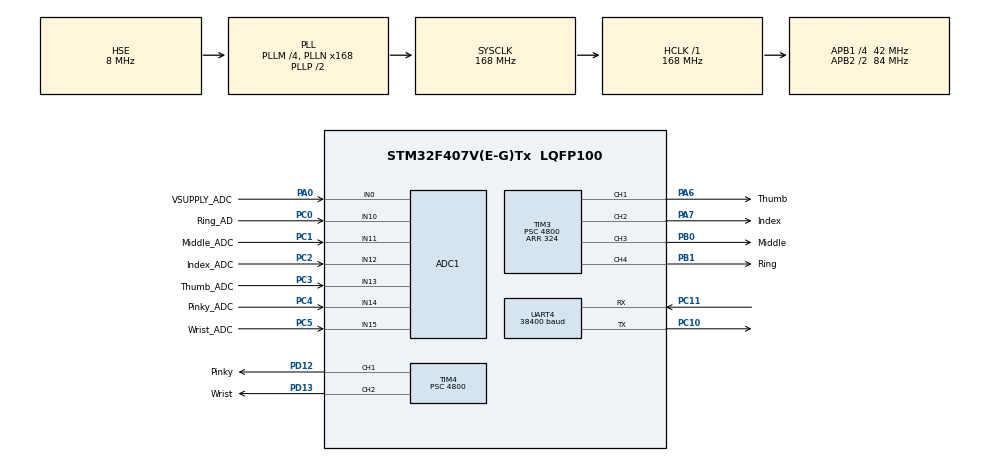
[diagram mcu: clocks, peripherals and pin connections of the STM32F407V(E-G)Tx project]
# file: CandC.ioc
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ADC1.Channel-0\#ChannelRegularConversion=ADC_CHANNEL_0
ADC1.Channel-1\#ChannelRegularConversion=ADC_CHANNEL_13
ADC1.Channel-2\#ChannelRegularConversion=ADC_CHANNEL_12
ADC1.Channel-3\#ChannelRegularConversion=ADC_CHANNEL_11
ADC1.Channel-4\#ChannelRegularConversion=ADC_CHANNEL_10
ADC1.Channel-5\#ChannelRegularConversion=ADC_CHANNEL_14
ADC1.Channel-6\#ChannelRegularConversion=ADC_CHANNEL_15
ADC1.ContinuousConvMode=ENABLE
ADC1.DMAContinuousRequests=ENABLE
ADC1.NbrOfConversion=7
ADC1.NbrOfConversionFlag=1
ADC1.Rank-0\#ChannelRegularConversion=1
ADC1.Rank-1\#ChannelRegularConversion=2
ADC1.Rank-2\#ChannelRegularConversion=3
ADC1.Rank-3\#ChannelRegularConversion=4
ADC1.Rank-4\#ChannelRegularConversion=5
ADC1.Rank-5\#ChannelRegularConversion=6
ADC1.Rank-6\#ChannelRegularConversion=7
ADC1.SamplingTime-0\#ChannelRegularConversion=ADC_SAMPLETIME_3CYCLES
ADC1.SamplingTime-1\#ChannelRegularConversion=ADC_SAMPLETIME_3CYCLES
ADC1.SamplingTime-2\#ChannelRegularConversion=ADC_SAMPLETIME_3CYCLES
ADC1.SamplingTime-3\#ChannelRegularConversion=ADC_SAMPLETIME_3CYCLES
ADC1.SamplingTime-4\#ChannelRegularConversion=ADC_SAMPLETIME_3CYCLES
ADC1.SamplingTime-5\#ChannelRegularConversion=ADC_SAMPLETIME_3CYCLES
ADC1.SamplingTime-6\#ChannelRegularConversion=ADC_SAMPLETIME_3CYCLES
ADC1.master=1
Dma.ADC1.1.Direction=DMA_PERIPH_TO_MEMORY
Dma.ADC1.1.FIFOMode=DMA_FIFOMODE_DISABLE
Dma.ADC1.1.Instance=DMA2_Stream0
Dma.ADC1.1.MemDataAlignment=DMA_MDATAALIGN_WORD
Dma.ADC1.1.MemInc=DMA_MINC_ENABLE
Dma.ADC1.1.Mode=DMA_CIRCULAR
Dma.ADC1.1.PeriphDataAlignment=DMA_PDATAALIGN_WORD
Dma.ADC1.1.PeriphInc=DMA_PINC_DISABLE
Dma.ADC1.1.Priority=DMA_PRIORITY_LOW
Dma.Request0=UART4_RX
Dma.Request1=ADC1
Dma.UART4_RX.0.Direction=DMA_PERIPH_TO_MEMORY
Dma.UART4_RX.0.FIFOMode=DMA_FIFOMODE_DISABLE
Dma.UART4_RX.0.Instance=DMA1_Stream2
Dma.UART4_RX.0.MemDataAlignment=DMA_MDATAALIGN_BYTE
Dma.UART4_RX.0.MemInc=DMA_MINC_ENABLE
Dma.UART4_RX.0.Mode=DMA_NORMAL
Dma.UART4_RX.0.PeriphDataAlignment=DMA_PDATAALIGN_BYTE
Dma.UART4_RX.0.PeriphInc=DMA_PINC_DISABLE
Dma.UART4_RX.0.Priority=DMA_PRIORITY_LOW
Mcu.Family=STM32F4
Mcu.Name=STM32F407V(E-G)Tx
Mcu.Package=LQFP100
NVIC.DMA1_Stream2_IRQn=true\:1\:0\:true\:false\:true\:false\:true
NVIC.DMA2_Stream0_IRQn=true\:1\:0\:true\:false\:true\:false\:true
NVIC.PriorityGroup=NVIC_PRIORITYGROUP_4
NVIC.UART4_IRQn=true\:1\:0\:true\:false\:true\:true\:true
PA0-WKUP.GPIO_Label=VSUPPLY_ADC
PA0-WKUP.Signal=ADCx_IN0
PA13.Mode=Serial_Wire
PA13.Signal=SYS_JTMS-SWDIO
PA14.Mode=Serial_Wire
PA14.Signal=SYS_JTCK-SWCLK
PA6.GPIO_Label=Thumb
PA6.Signal=S_TIM3_CH1
PA7.GPIO_Label=Index
PA7.Signal=S_TIM3_CH2
PB0.GPIO_Label=Middle
PB0.Signal=S_TIM3_CH3
PB1.GPIO_Label=Ring
PB1.Signal=S_TIM3_CH4
PC0.GPIO_Label=Ring_AD
PC0.Signal=ADCx_IN10
PC1.GPIO_Label=Middle_ADC
PC1.Signal=ADCx_IN11
PC10.Mode=Asynchronous
PC10.Signal=UART4_TX
PC11.Mode=Asynchronous
PC11.Signal=UART4_RX
PC2.GPIO_Label=Index_ADC
PC2.Signal=ADCx_IN12
PC3.GPIO_Label=Thumb_ADC
PC3.Signal=ADCx_IN13
PC4.GPIO_Label=Pinky_ADC
PC4.Signal=ADCx_IN14
PC5.GPIO_Label=Wrist_ADC
PC5.Signal=ADCx_IN15
PD12.GPIO_Label=Pinky
PD12.Signal=S_TIM4_CH1
PD13.GPIO_Label=Wrist
PD13.Signal=S_TIM4_CH2
PH0-OSC_IN.Mode=HSE-External-Oscillator
PH0-OSC_IN.Signal=RCC_OSC_IN
PH1-OSC_OUT.Mode=HSE-External-Oscillator
PH1-OSC_OUT.Signal=RCC_OSC_OUT
ProjectManager.HeapSize=0x200
ProjectManager.StackSize=0x400
ProjectManager.TargetToolchain=STM32CubeIDE
RCC.48MHZClocksFreq_Value=84000000
RCC.AHBFreq_Value=168000000
RCC.APB1CLKDivider=RCC_HCLK_DIV4
RCC.APB1Freq_Value=42000000
RCC.APB1TimFreq_Value=84000000
RCC.APB2CLKDivider=RCC_HCLK_DIV2
RCC.APB2Freq_Value=84000000
RCC.APB2TimFreq_Value=168000000
RCC.CortexFreq_Value=168000000
RCC.HCLKFreq_Value=168000000
RCC.HSE_VALUE=8000000
RCC.HSI_VALUE=16000000
RCC.LSE_VALUE=32768
RCC.PLLM=4
RCC.PLLN=168
RCC.PLLSourceVirtual=RCC_PLLSOURCE_HSE
RCC.SYSCLKFreq_VALUE=168000000
RCC.SYSCLKSource=RCC_SYSCLKSOURCE_PLLCLK
RCC.VCOOutputFreq_Value=336000000
SH.ADCx_IN0.0=ADC1_IN0,IN0
SH.ADCx_IN10.0=ADC1_IN10,IN10
SH.ADCx_IN11.0=ADC1_IN11,IN11
SH.ADCx_IN12.0=ADC1_IN12,IN12
SH.ADCx_IN13.0=ADC1_IN13,IN13
SH.ADCx_IN14.0=ADC1_IN14,IN14
SH.ADCx_IN15.0=ADC1_IN15,IN15
SH.S_TIM3_CH1.0=TIM3_CH1,PWM Generation1 CH1
SH.S_TIM3_CH2.0=TIM3_CH2,PWM Generation2 CH2
SH.S_TIM3_CH3.0=TIM3_CH3,PWM Generation3 CH3
SH.S_TIM3_CH4.0=TIM3_CH4,PWM Generation4 CH4
SH.S_TIM4_CH1.0=TIM4_CH1,PWM Generation1 CH1
SH.S_TIM4_CH2.0=TIM4_CH2,PWM Generation2 CH2
TIM3.Channel-PWM\ Generation1\ CH1=TIM_CHANNEL_1
TIM3.Channel-PWM\ Generation2\ CH2=TIM_CHANNEL_2
TIM3.Channel-PWM\ Generation3\ CH3=TIM_CHANNEL_3
TIM3.Channel-PWM\ Generation4\ CH4=TIM_CHANNEL_4
TIM3.Period=324
TIM3.Prescaler=4800
TIM3.Pulse-PWM\ Generation1\ CH1=160
TIM3.Pulse-PWM\ Generation2\ CH2=160
TIM3.Pulse-PWM\ Generation3\ CH3=160
TIM3.Pulse-PWM\ Generation4\ CH4=160
TIM4.Channel-PWM\ Generation1\ CH1=TIM_CHANNEL_1
TIM4.Channel-PWM\ Generation2\ CH2=TIM_CHANNEL_2
TIM4.Period=324
TIM4.Prescaler=4800
TIM4.Pulse-PWM\ Generation1\ CH1=160
TIM4.Pulse-PWM\ Generation2\ CH2=160
UART4.BaudRate=38400
UART4.VirtualMode=Asynchronous
VP_TIM3_VS_ClockSourceINT.Mode=Internal
VP_TIM4_VS_ClockSourceINT.Mode=Internal
board=custom

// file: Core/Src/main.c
/* USER CODE BEGIN Header */
/**
  ******************************************************************************
  * @file           : main.c
  * @brief          : Main program body
  ******************************************************************************
  * @attention
  *
  * <h2><center>&copy; Copyright (c) 2020 STMicroelectronics.
  * All rights reserved.</center></h2>
  *
  * This software component is licensed by ST under BSD 3-Clause license,
  * the "License"; You may not use this file except in compliance with the
  * License. You may obtain a copy of the License at:
  *                        opensource.org/licenses/BSD-3-Clause
  *
  ******************************************************************************
  */
/* USER CODE END Header */

#include "main.h"

/* USER CODE BEGIN Includes */
#include <stdlib.h>
#include <stdio.h>
#include <string.h>
#include "DCT.h"
#include "svm_predict.h"

//#define PRINTING_MODEL
//#define PRINTING_COEFFS
#ifndef EPOCH_LENGTH_SAMPLES
  #define EPOCH_LENGTH_SAMPLES 256
#endif
#define CHARS_PER_SAMPLE 11
#define SVM_SCALE_FACTOR 100000
//#define EEG_SCALE_FACTOR 1
#define EEG_SCALE_FACTOR 100000
#define ADC_VREF 3.3
#define ADC_MAX_COUNT 4095
#define FEEDBACK_GAIN 6
/* USER CODE END Includes */

ADC_HandleTypeDef hadc1;
DMA_HandleTypeDef hdma_adc1;

TIM_HandleTypeDef htim3;
TIM_HandleTypeDef htim4;

UART_HandleTypeDef huart4;
DMA_HandleTypeDef hdma_uart4_rx;

void SystemClock_Config(void);
static void MX_GPIO_Init(void);
static void MX_DMA_Init(void);
static void MX_ADC1_Init(void);
static void MX_TIM3_Init(void);
static void MX_TIM4_Init(void);
static void MX_UART4_Init(void);
/* USER CODE BEGIN PFP */
void open_hand(void);
void close_hand(void);
double convert_ADC_to_volts(uint32_t);
double ohms_law(double, double);
double moving_average(double*, int);
void user_pwm_setvalue(long, TIM_HandleTypeDef*, uint32_t);

/* USER CODE END PFP */

/* USER CODE BEGIN 0 */

unsigned char RX_data[EPOCH_LENGTH_SAMPLES * CHARS_PER_SAMPLE] = {0};
double parsed_epoch_data[EPOCH_LENGTH_SAMPLES] = {0};
Linear_SVM_Model SVM;
uint32_t adc_values[7];        /**< The ADC Values are saved here */
double thumb_current_history[10] = {0};
double index_current_history[10] = {0};
double middle_current_history[10] = {0};
double ring_current_history[10] = {0};
double pinky_current_history[10] = {0};
char is_blocked[6] = {0};
char is_open = 0;

int parse_buffer(void) {
	char delim[] = "\n";
	char *ptr = strtok((char*)RX_data, delim);
	int sample_number = 0;
	while(ptr != NULL)
	{
		long value = atol(ptr);
		if (SVM.complete) { // this should be svm.complete
			parsed_epoch_data[sample_number] = ((double)value) / EEG_SCALE_FACTOR;
		}
		else {
			parsed_epoch_data[sample_number] = ((double)value) / SVM_SCALE_FACTOR;
		}
		sample_number++;
		ptr = strtok(NULL, delim);
	}
	return sample_number;
}

void process_sample(double coeffs[]) {
    parse_buffer();
	// Process this epoch
	int number_of_samples = sizeof(parsed_epoch_data) / sizeof(double);

	dct_test(coeffs, parsed_epoch_data, number_of_samples);
#ifdef PRINTING_COEFFS
	//This is just printing
	for (int i = 0; i < number_of_samples; i++) {
		char data_string[CHARS_PER_SAMPLE] = {0};
		snprintf(data_string,  CHARS_PER_SAMPLE, "%010lf", coeffs[i]);
		HAL_UART_Transmit(&huart4, (unsigned char *)data_string, CHARS_PER_SAMPLE, 0xFFFF);
		HAL_UART_Transmit(&huart4, (unsigned char *)"\n\r", 3, 0xFFFF);
	}
#endif

}

#ifdef PRINTING_MODEL
void print_model(Linear_SVM_Model* model) {
	if (model->complete) {
		char weight_str[255] = {0};
		HAL_UART_Transmit(&huart4, (unsigned char *)"Weights\n\r", 10, 0xFFFF);
		for (int i = 0; i < EPOCH_LENGTH_SAMPLES; i++) {
			snprintf(weight_str, 11, "%010ld", (long)(model->weight_vector[i]*1000));
			HAL_UART_Transmit(&huart4, (unsigned char *)weight_str, 11, 0xFFFF);
			HAL_UART_Transmit(&huart4, (unsigned char *)"\r\n", 3, 0xFFFF);
		}

		char scale_str[255] = {0};
		char offset_str[255] = {0};
		char dimension_str[255] = {0};
		snprintf(scale_str, 11, "%010ld", (long)(model->scale * 1000));
		snprintf(offset_str, 11, "%010ld", (long)(model->offset * 1000));
		snprintf(dimension_str, 11, "%010ld", (long)(model->dimension * 1000));

		HAL_UART_Transmit(&huart4, (unsigned char*)"Scale: ", 7, 0xFFFF);
		HAL_UART_Transmit(&huart4, (unsigned char*)scale_str, 11, 0xFFFF);
		HAL_UART_Transmit(&huart4, (unsigned char*)"\n\r", 3, 0xFFFF);

		HAL_UART_Transmit(&huart4, (unsigned char*)"Offset: ", 8, 0xFFFF);
		HAL_UART_Transmit(&huart4, (unsigned char*)offset_str, 11, 0xFFFF);
		HAL_UART_Transmit(&huart4, (unsigned char*)"\n\r", 3, 0xFFFF);

		HAL_UART_Transmit(&huart4, (unsigned char*)"Dimension: ", 11, 0xFFFF);
		HAL_UART_Transmit(&huart4, (unsigned char*)dimension_str, 11, 0xFFFF);
		HAL_UART_Transmit(&huart4, (unsigned char*)"\n\r", 3, 0xFFFF);
	}

}
#endif

void build_model(void) {
	parse_buffer();
	if (SVM.has_vector == 0) {
		/* Load the weight vector */
		int number_of_weights = sizeof(parsed_epoch_data) / sizeof(double);   // Get the number of coefficients in the weight vector
		double vect[number_of_weights];      // This is an array to hold the weights once converted to double from long
		for (int i = 0; i < number_of_weights; i++) {
			vect[i] = (parsed_epoch_data[i]); // Convert the weight to double then divide by the scale factor
		}
		//SVM->weight_vector = malloc(number_of_weights * sizeof(double));
		memcpy(SVM.weight_vector, vect, sizeof(vect));   // Store the scaled weights into the model, SVM.weight_vector is no longer NULL
		SVM.has_vector = 1;
	}
	else {
		/* Load the offset, scale and dimension */
		SVM.scale = (parsed_epoch_data[0]);
		SVM.offset = (parsed_epoch_data[1]);
		SVM.dimension = (parsed_epoch_data[2]);
		SVM.complete = 1;
		open_hand();
		HAL_Delay(250);
		close_hand();
#ifdef PRINTING_MODEL
		print_model(SVM);
#endif
	}
}

void HAL_UART_RxCpltCallback(UART_HandleTypeDef *huart) {
	if (SVM.complete) { //should be complete not not complete
		double coeffs[EPOCH_LENGTH_SAMPLES] = {0};
        process_sample(coeffs);
        double prediction = Linear_SVM_Predict(&SVM, coeffs);
        if (prediction < 0) {
        	open_hand();
        }
        else {
        	close_hand();
        }
	}
	else {        //This happens when we haven't got the model yet
		/* Get the model */
		build_model();
	}
	HAL_UART_Receive_IT(&huart4, RX_data, EPOCH_LENGTH_SAMPLES * CHARS_PER_SAMPLE); // Start listening. You now have 1 epoch to process this epoch
}

void user_pwm_setvalue(long value, TIM_HandleTypeDef* timer, uint32_t channel)
{
    TIM_OC_InitTypeDef sConfigOC;

    sConfigOC.OCMode = TIM_OCMODE_PWM1;
    sConfigOC.Pulse = value;
    sConfigOC.OCPolarity = TIM_OCPOLARITY_HIGH;
    sConfigOC.OCFastMode = TIM_OCFAST_DISABLE;
    HAL_TIM_PWM_ConfigChannel(timer, &sConfigOC, channel);
    HAL_TIM_PWM_Start(timer, channel);
}

void close_hand(void) {
	char old_state = is_open;
	  user_pwm_setvalue(30, &htim3, TIM_CHANNEL_1);
	  user_pwm_setvalue(28, &htim3, TIM_CHANNEL_2);
	  user_pwm_setvalue(20, &htim3, TIM_CHANNEL_3);
	  user_pwm_setvalue(25, &htim3, TIM_CHANNEL_4);
	  user_pwm_setvalue(25, &htim4, TIM_CHANNEL_1);
	  is_open = 0;
	  if (is_open != old_state) {
		  for (int i = 0; i < 5; i++) {
			  is_blocked[i] = 0;
		  }
	  }
}

void open_hand(void) {
	char old_state = is_open;
	  user_pwm_setvalue(11, &htim3, TIM_CHANNEL_1);
	  user_pwm_setvalue(10, &htim3, TIM_CHANNEL_2);
	  user_pwm_setvalue(10, &htim3, TIM_CHANNEL_3);
	  user_pwm_setvalue(11, &htim3, TIM_CHANNEL_4);
	  user_pwm_setvalue(11, &htim4, TIM_CHANNEL_1);
	  is_open = 1;
	  if (is_open != old_state) {
		  for (int i = 0; i < 5; i++) {
			  is_blocked[i] = 0;
		  }
	  }
}

double convert_ADC_to_volts(uint32_t adc_count) {
	return ((double)adc_count * ((ADC_VREF) / (ADC_MAX_COUNT)) * FEEDBACK_GAIN);
}

double ohms_law(double volts, double resistance) {
	if (resistance) {
	return (volts / resistance);
	}
	return 0;
}

double moving_average(double data[], int length) {
	if (length == 0) {
		return 0.0;
	}
	double sum = 0;
	for (int i = 0; i < length; i++) {
		sum += data[i];
	}
	return (sum / length);
}

void bang_bang_control(void) {
	  double thumb_volts = convert_ADC_to_volts(adc_values[2]);    // Read voltage after thumb sense resistor
	  double index_volts = convert_ADC_to_volts(adc_values[2]);    // Read voltage after index sense resistor
	  double middle_volts = convert_ADC_to_volts(adc_values[2]);    // Read voltage after middle sense resistor
	  double ring_volts = convert_ADC_to_volts(adc_values[2]);    // Read voltage after ring sense resistor
	  double pinky_volts = convert_ADC_to_volts(adc_values[2]);    // Read voltage after pinky sense resistor
	  double ref_volts = convert_ADC_to_volts(adc_values[0]);        // Read voltage before sense resistors

	  double thumb_current = ohms_law(ref_volts - thumb_volts, 50);   // Compute voltage drop, then divide by 50mOhm sense resistor
	  double index_current = ohms_law(ref_volts - index_volts, 50);   // Compute voltage drop, then divide by 50mOhm sense resistor
	  double middle_current = ohms_law(ref_volts - middle_volts, 50);   // Compute voltage drop, then divide by 50mOhm sense resistor
	  double ring_current = ohms_law(ref_volts - ring_volts, 50);   // Compute voltage drop, then divide by 50mOhm sense resistor
	  double pinky_current = ohms_law(ref_volts - pinky_volts, 50);   // Compute voltage drop, then divide by 50mOhm sense resistor

	  for (int i = 0; i < 9; i++) {
		  thumb_current_history[i] = thumb_current_history[i+1]; // left shift
		  index_current_history[i] = index_current_history[i+1]; // left shift
		  middle_current_history[i] = middle_current_history[i+1]; // left shift
		  ring_current_history[i] = ring_current_history[i+1]; // left shift
		  pinky_current_history[i] = pinky_current_history[i+1]; // left shift
	  }
	  thumb_current_history[9] = thumb_current;
	  index_current_history[9] = index_current;
	  middle_current_history[9] = middle_current;
	  ring_current_history[9] = ring_current;
	  pinky_current_history[9] = pinky_current;

	  thumb_current = moving_average(thumb_current_history, 10);
	  index_current = moving_average(index_current_history, 10);
	  index_current = moving_average(middle_current_history, 10);
	  index_current = moving_average(ring_current_history, 10);
	  index_current = moving_average(pinky_current_history, 10);

	  if (thumb_current > 1) {
		  is_blocked[0] = 1;
	  }
	  if (index_current > 1) {
		  is_blocked[1] = 1;
	  }
	  if (middle_current > 1) {
		  is_blocked[2] = 1;
	  }
	  if (ring_current > 1) {
		  is_blocked[3] = 1;
	  }
	  if (pinky_current > 1) {
		  is_blocked[4] = 1;
	  }
}

/* USER CODE END 0 */

int main(void)
{

  /* MCU Configuration--------------------------------------------------------*/

  /* Reset of all peripherals, Initializes the Flash interface and the Systick. */
  HAL_Init();

  /* Configure the system clock */
  SystemClock_Config();

  /* Initialize all configured peripherals */
  MX_GPIO_Init();
  MX_DMA_Init();
  MX_ADC1_Init();
  MX_TIM3_Init();
  MX_TIM4_Init();
  MX_UART4_Init();
  /* USER CODE BEGIN 2 */
  SVM.has_vector = 0;
  SVM.complete = 0;
  HAL_UART_Receive_IT(&huart4, RX_data, EPOCH_LENGTH_SAMPLES * CHARS_PER_SAMPLE);
  HAL_TIM_PWM_Start(&htim3, TIM_CHANNEL_1);
  close_hand();

  HAL_ADC_Start_DMA(&hadc1, adc_values, 7);    /**< Starts the ADC in DMA Mode */

  /* USER CODE END 2 */

  /* Infinite loop */
  /* USER CODE BEGIN WHILE */
  while (1)
  {
	  HAL_UART_Receive_IT(&huart4, RX_data, EPOCH_LENGTH_SAMPLES * CHARS_PER_SAMPLE);

    /* USER CODE END WHILE */

    /* USER CODE BEGIN 3 */
      bang_bang_control();
	  //HAL_Delay(1000);

  }
  /* USER CODE END 3 */
}

void SystemClock_Config(void)
{
  RCC_OscInitTypeDef RCC_OscInitStruct = {0};
  RCC_ClkInitTypeDef RCC_ClkInitStruct = {0};

  /** Configure the main internal regulator output voltage
  */
  __HAL_RCC_PWR_CLK_ENABLE();
  __HAL_PWR_VOLTAGESCALING_CONFIG(PWR_REGULATOR_VOLTAGE_SCALE1);
  /** Initializes the CPU, AHB and APB busses clocks
  */
  RCC_OscInitStruct.OscillatorType = RCC_OSCILLATORTYPE_HSE;
  RCC_OscInitStruct.HSEState = RCC_HSE_ON;
  RCC_OscInitStruct.PLL.PLLState = RCC_PLL_ON;
  RCC_OscInitStruct.PLL.PLLSource = RCC_PLLSOURCE_HSE;
  RCC_OscInitStruct.PLL.PLLM = 4;
  RCC_OscInitStruct.PLL.PLLN = 168;
  RCC_OscInitStruct.PLL.PLLP = RCC_PLLP_DIV2;
  RCC_OscInitStruct.PLL.PLLQ = 4;
  if (HAL_RCC_OscConfig(&RCC_OscInitStruct) != HAL_OK)
  {
    Error_Handler();
  }
  /** Initializes the CPU, AHB and APB busses clocks
  */
  RCC_ClkInitStruct.ClockType = RCC_CLOCKTYPE_HCLK|RCC_CLOCKTYPE_SYSCLK
                              |RCC_CLOCKTYPE_PCLK1|RCC_CLOCKTYPE_PCLK2;
  RCC_ClkInitStruct.SYSCLKSource = RCC_SYSCLKSOURCE_PLLCLK;
  RCC_ClkInitStruct.AHBCLKDivider = RCC_SYSCLK_DIV1;
  RCC_ClkInitStruct.APB1CLKDivider = RCC_HCLK_DIV4;
  RCC_ClkInitStruct.APB2CLKDivider = RCC_HCLK_DIV2;

  if (HAL_RCC_ClockConfig(&RCC_ClkInitStruct, FLASH_LATENCY_5) != HAL_OK)
  {
    Error_Handler();
  }
}

static void MX_ADC1_Init(void)
{

  ADC_ChannelConfTypeDef sConfig = {0};

  /** Configure the global features of the ADC (Clock, Resolution, Data Alignment and number of conversion)
  */
  hadc1.Instance = ADC1;
  hadc1.Init.ClockPrescaler = ADC_CLOCK_SYNC_PCLK_DIV4;
  hadc1.Init.Resolution = ADC_RESOLUTION_12B;
  hadc1.Init.ScanConvMode = ENABLE;
  hadc1.Init.ContinuousConvMode = ENABLE;
  hadc1.Init.DiscontinuousConvMode = DISABLE;
  hadc1.Init.ExternalTrigConvEdge = ADC_EXTERNALTRIGCONVEDGE_NONE;
  hadc1.Init.ExternalTrigConv = ADC_SOFTWARE_START;
  hadc1.Init.DataAlign = ADC_DATAALIGN_RIGHT;
  hadc1.Init.NbrOfConversion = 7;
  hadc1.Init.DMAContinuousRequests = ENABLE;
  hadc1.Init.EOCSelection = ADC_EOC_SINGLE_CONV;
  if (HAL_ADC_Init(&hadc1) != HAL_OK)
  {
    Error_Handler();
  }
  /** Configure for the selected ADC regular channel its corresponding rank in the sequencer and its sample time.
  */
  sConfig.Channel = ADC_CHANNEL_0;
  sConfig.Rank = 1;
  sConfig.SamplingTime = ADC_SAMPLETIME_3CYCLES;
  if (HAL_ADC_ConfigChannel(&hadc1, &sConfig) != HAL_OK)
  {
    Error_Handler();
  }
  /** Configure for the selected ADC regular channel its corresponding rank in the sequencer and its sample time.
  */
  sConfig.Channel = ADC_CHANNEL_13;
  sConfig.Rank = 2;
  if (HAL_ADC_ConfigChannel(&hadc1, &sConfig) != HAL_OK)
  {
    Error_Handler();
  }
  /** Configure for the selected ADC regular channel its corresponding rank in the sequencer and its sample time.
  */
  sConfig.Channel = ADC_CHANNEL_12;
  sConfig.Rank = 3;
  if (HAL_ADC_ConfigChannel(&hadc1, &sConfig) != HAL_OK)
  {
    Error_Handler();
  }
  /** Configure for the selected ADC regular channel its corresponding rank in the sequencer and its sample time.
  */
  sConfig.Channel = ADC_CHANNEL_11;
  sConfig.Rank = 4;
  if (HAL_ADC_ConfigChannel(&hadc1, &sConfig) != HAL_OK)
  {
    Error_Handler();
  }
  /** Configure for the selected ADC regular channel its corresponding rank in the sequencer and its sample time.
  */
  sConfig.Channel = ADC_CHANNEL_10;
  sConfig.Rank = 5;
  if (HAL_ADC_ConfigChannel(&hadc1, &sConfig) != HAL_OK)
  {
    Error_Handler();
  }
  /** Configure for the selected ADC regular channel its corresponding rank in the sequencer and its sample time.
  */
  sConfig.Channel = ADC_CHANNEL_14;
  sConfig.Rank = 6;
  if (HAL_ADC_ConfigChannel(&hadc1, &sConfig) != HAL_OK)
  {
    Error_Handler();
  }
  /** Configure for the selected ADC regular channel its corresponding rank in the sequencer and its sample time.
  */
  sConfig.Channel = ADC_CHANNEL_15;
  sConfig.Rank = 7;
  if (HAL_ADC_ConfigChannel(&hadc1, &sConfig) != HAL_OK)
  {
    Error_Handler();
  }

}

static void MX_TIM3_Init(void)
{

  TIM_ClockConfigTypeDef sClockSourceConfig = {0};
  TIM_MasterConfigTypeDef sMasterConfig = {0};
  TIM_OC_InitTypeDef sConfigOC = {0};

  htim3.Instance = TIM3;
  htim3.Init.Prescaler = 4800;
  htim3.Init.CounterMode = TIM_COUNTERMODE_UP;
  htim3.Init.Period = 324;
  htim3.Init.ClockDivision = TIM_CLOCKDIVISION_DIV1;
  htim3.Init.AutoReloadPreload = TIM_AUTORELOAD_PRELOAD_DISABLE;
  if (HAL_TIM_Base_Init(&htim3) != HAL_OK)
  {
    Error_Handler();
  }
  sClockSourceConfig.ClockSource = TIM_CLOCKSOURCE_INTERNAL;
  if (HAL_TIM_ConfigClockSource(&htim3, &sClockSourceConfig) != HAL_OK)
  {
    Error_Handler();
  }
  if (HAL_TIM_PWM_Init(&htim3) != HAL_OK)
  {
    Error_Handler();
  }
  sMasterConfig.MasterOutputTrigger = TIM_TRGO_RESET;
  sMasterConfig.MasterSlaveMode = TIM_MASTERSLAVEMODE_DISABLE;
  if (HAL_TIMEx_MasterConfigSynchronization(&htim3, &sMasterConfig) != HAL_OK)
  {
    Error_Handler();
  }
  sConfigOC.OCMode = TIM_OCMODE_PWM1;
  sConfigOC.Pulse = 20;
  sConfigOC.OCPolarity = TIM_OCPOLARITY_HIGH;
  sConfigOC.OCFastMode = TIM_OCFAST_DISABLE;
  if (HAL_TIM_PWM_ConfigChannel(&htim3, &sConfigOC, TIM_CHANNEL_1) != HAL_OK)
  {
    Error_Handler();
  }
  if (HAL_TIM_PWM_ConfigChannel(&htim3, &sConfigOC, TIM_CHANNEL_2) != HAL_OK)
  {
    Error_Handler();
  }
  if (HAL_TIM_PWM_ConfigChannel(&htim3, &sConfigOC, TIM_CHANNEL_3) != HAL_OK)
  {
    Error_Handler();
  }
  if (HAL_TIM_PWM_ConfigChannel(&htim3, &sConfigOC, TIM_CHANNEL_4) != HAL_OK)
  {
    Error_Handler();
  }
  HAL_TIM_MspPostInit(&htim3);

}

static void MX_TIM4_Init(void)
{

  TIM_ClockConfigTypeDef sClockSourceConfig = {0};
  TIM_MasterConfigTypeDef sMasterConfig = {0};
  TIM_OC_InitTypeDef sConfigOC = {0};

  htim4.Instance = TIM4;
  htim4.Init.Prescaler = 4800;
  htim4.Init.CounterMode = TIM_COUNTERMODE_UP;
  htim4.Init.Period = 324;
  htim4.Init.ClockDivision = TIM_CLOCKDIVISION_DIV1;
  htim4.Init.AutoReloadPreload = TIM_AUTORELOAD_PRELOAD_DISABLE;
  if (HAL_TIM_Base_Init(&htim4) != HAL_OK)
  {
    Error_Handler();
  }
  sClockSourceConfig.ClockSource = TIM_CLOCKSOURCE_INTERNAL;
  if (HAL_TIM_ConfigClockSource(&htim4, &sClockSourceConfig) != HAL_OK)
  {
    Error_Handler();
  }
  if (HAL_TIM_PWM_Init(&htim4) != HAL_OK)
  {
    Error_Handler();
  }
  sMasterConfig.MasterOutputTrigger = TIM_TRGO_RESET;
  sMasterConfig.MasterSlaveMode = TIM_MASTERSLAVEMODE_DISABLE;
  if (HAL_TIMEx_MasterConfigSynchronization(&htim4, &sMasterConfig) != HAL_OK)
  {
    Error_Handler();
  }
  sConfigOC.OCMode = TIM_OCMODE_PWM1;
  sConfigOC.Pulse = 20;
  sConfigOC.OCPolarity = TIM_OCPOLARITY_HIGH;
  sConfigOC.OCFastMode = TIM_OCFAST_DISABLE;
  if (HAL_TIM_PWM_ConfigChannel(&htim4, &sConfigOC, TIM_CHANNEL_1) != HAL_OK)
  {
    Error_Handler();
  }
  if (HAL_TIM_PWM_ConfigChannel(&htim4, &sConfigOC, TIM_CHANNEL_2) != HAL_OK)
  {
    Error_Handler();
  }
  HAL_TIM_MspPostInit(&htim4);

}

static void MX_UART4_Init(void)
{

  huart4.Instance = UART4;
  huart4.Init.BaudRate = 38400;
  huart4.Init.WordLength = UART_WORDLENGTH_8B;
  huart4.Init.StopBits = UART_STOPBITS_1;
  huart4.Init.Parity = UART_PARITY_NONE;
  huart4.Init.Mode = UART_MODE_TX_RX;
  huart4.Init.HwFlowCtl = UART_HWCONTROL_NONE;
  huart4.Init.OverSampling = UART_OVERSAMPLING_16;
  if (HAL_UART_Init(&huart4) != HAL_OK)
  {
    Error_Handler();
  }

}

static void MX_DMA_Init(void)
{

  /* DMA controller clock enable */
  __HAL_RCC_DMA1_CLK_ENABLE();
  __HAL_RCC_DMA2_CLK_ENABLE();

  /* DMA interrupt init */
  /* DMA1_Stream2_IRQn interrupt configuration */
  HAL_NVIC_SetPriority(DMA1_Stream2_IRQn, 1, 0);
  HAL_NVIC_EnableIRQ(DMA1_Stream2_IRQn);
  /* DMA2_Stream0_IRQn interrupt configuration */
  HAL_NVIC_SetPriority(DMA2_Stream0_IRQn, 1, 0);
  HAL_NVIC_EnableIRQ(DMA2_Stream0_IRQn);

}

static void MX_GPIO_Init(void)
{

  /* GPIO Ports Clock Enable */
  __HAL_RCC_GPIOH_CLK_ENABLE();
  __HAL_RCC_GPIOC_CLK_ENABLE();
  __HAL_RCC_GPIOA_CLK_ENABLE();
  __HAL_RCC_GPIOB_CLK_ENABLE();
  __HAL_RCC_GPIOD_CLK_ENABLE();

}

void Error_Handler(void)
{
}

/************************ (C) COPYRIGHT STMicroelectronics *****END OF FILE****/
